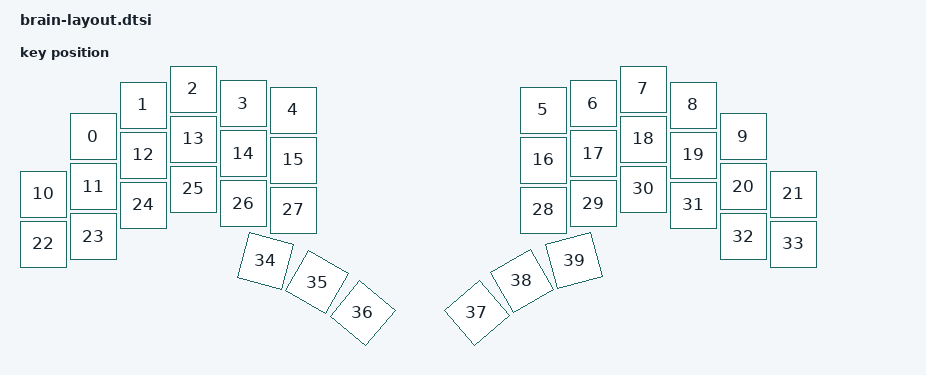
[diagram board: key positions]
#include <physical_layouts.dtsi>

/ {
    physical_layout0: physical_layout_0 {
        compatible = "zmk,physical-layout";
        display-name = "Brain";

        kscan = <&kscan0>;
        transform = <&matrix_transform0>;

        keys  //                     w   h    x    y     rot    rx    ry
            = <&key_physical_attrs 100 100  100   95       0     0     0>
            , <&key_physical_attrs 100 100  200   32       0     0     0>
            , <&key_physical_attrs 100 100  300    0       0     0     0>
            , <&key_physical_attrs 100 100  400   29       0     0     0>
            , <&key_physical_attrs 100 100  500   42       0     0     0>
            , <&key_physical_attrs 100 100 1000   42       0     0     0>
            , <&key_physical_attrs 100 100 1100   29       0     0     0>
            , <&key_physical_attrs 100 100 1200    0       0     0     0>
            , <&key_physical_attrs 100 100 1300   32       0     0     0>
            , <&key_physical_attrs 100 100 1400   95       0     0     0>
            , <&key_physical_attrs 100 100    0  210       0     0     0>
            , <&key_physical_attrs 100 100  100  195       0     0     0>
            , <&key_physical_attrs 100 100  200  132       0     0     0>
            , <&key_physical_attrs 100 100  300  100       0     0     0>
            , <&key_physical_attrs 100 100  400  129       0     0     0>
            , <&key_physical_attrs 100 100  500  142       0     0     0>
            , <&key_physical_attrs 100 100 1000  142       0     0     0>
            , <&key_physical_attrs 100 100 1100  129       0     0     0>
            , <&key_physical_attrs 100 100 1200  100       0     0     0>
            , <&key_physical_attrs 100 100 1300  132       0     0     0>
            , <&key_physical_attrs 100 100 1400  195       0     0     0>
            , <&key_physical_attrs 100 100 1500  210       0     0     0>
            , <&key_physical_attrs 100 100    0  310       0     0     0>
            , <&key_physical_attrs 100 100  100  295       0     0     0>
            , <&key_physical_attrs 100 100  200  232       0     0     0>
            , <&key_physical_attrs 100 100  300  200       0     0     0>
            , <&key_physical_attrs 100 100  400  229       0     0     0>
            , <&key_physical_attrs 100 100  500  242       0     0     0>
            , <&key_physical_attrs 100 100 1000  242       0     0     0>
            , <&key_physical_attrs 100 100 1100  229       0     0     0>
            , <&key_physical_attrs 100 100 1200  200       0     0     0>
            , <&key_physical_attrs 100 100 1300  232       0     0     0>
            , <&key_physical_attrs 100 100 1400  295       0     0     0>
            , <&key_physical_attrs 100 100 1500  310       0     0     0>
            , <&key_physical_attrs 100 100  430  355    1500   530   455>
            , <&key_physical_attrs 100 100  530  355    3000   530   455>
            , <&key_physical_attrs 100 100  637  355    4000   560   455>
            , <&key_physical_attrs 100 100  822  488 (-4000)   840   455>
            , <&key_physical_attrs 100 100  950  455 (-3000)   870   455>
            , <&key_physical_attrs 100 100 1070  408 (-1500)   870   455>
            ;
    };
};
